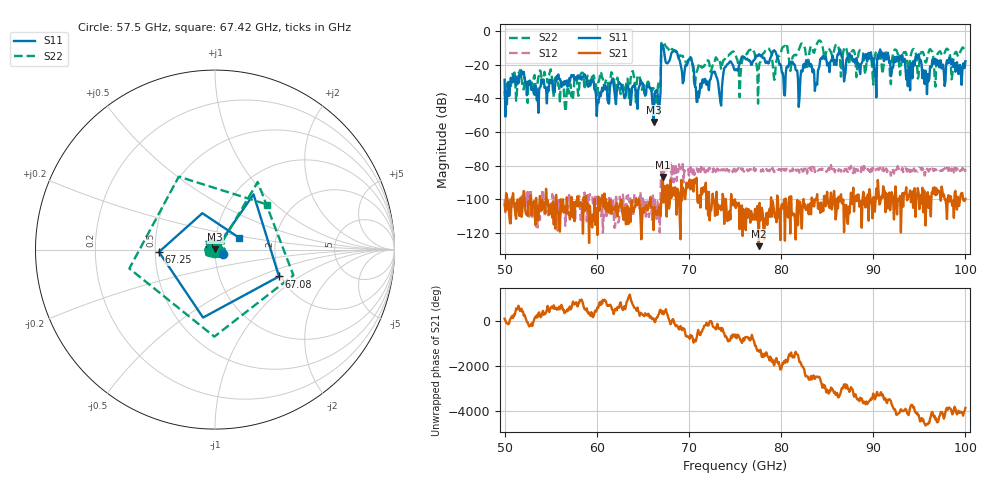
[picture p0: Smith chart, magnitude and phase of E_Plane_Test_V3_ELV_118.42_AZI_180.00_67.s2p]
! 11/26/2026 4:44:27 PM
! C:\ANRITSUVNA\TEMP\TEMP.S2P
! CHANNEL.1
! TR.MEASUREMENT
! RAW.DATA
# HZ S RI R 50.0
! FREQ.HZ  S11RE  S11IM  S21RE  S21IM  S12RE  S12IM  S22RE  S22IM
!; PortSelection: Port_12
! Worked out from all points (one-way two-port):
!   601 points, 50 GHz to 100 GHz, reference 50 ohm
!   highest |S21| = -86.72 dB at 67.17 GHz (marker M1); lowest = -128.0 dB at 77.58 GHz (marker M2)
!   lowest |S11| = -54.0 dB at 66.17 GHz (marker M3), VSWR 1.00, Z = 50.1 + j0.144 ohm
!   |S11| at or under -10 dB: start of sweep to 67 GHz; 67.25 GHz to end of sweep
!   |S22| runs from -47.9 to -5.6 dB; largest |S21 - S12| = 0.00017
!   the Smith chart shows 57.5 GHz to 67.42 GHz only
!   S11 on the Smith chart (normalised r, x): 57.5 GHz: 1.09, -0.05; 67.08 GHz: 1.95, -0.69; 67.25 GHz: 0.52, -0.02; 67.42 GHz: 1.29, +0.18
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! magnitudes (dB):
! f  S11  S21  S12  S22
! 50 GHz  -29.0  -103.1  -100.2  -35.8
! 51.67 GHz  -26.3  -100.4  -105.9  -23.3
! 53.42 GHz  -34.8  -99.3  -117.7  -35.3
! 57.5 GHz  -26.1  -101.8  -106.4  -34.7
! 58.42 GHz  -27.1  -103.2  -103.3  -24.7
! 60.17 GHz  -42.9  -98.5  -104.0  -30.4
! 66.17 GHz  -54.0  -118.4  -101.3  -34.0
! 66.67 GHz  -41.5  -107.2  -106.4  -31.6
! 67.08 GHz  -8.3  -96.1  -85.0  -6.8
! 67.17 GHz  -8.3  -86.7  -79.1  -6.3
! 67.25 GHz  -10.1  -102.0  -82.7  -6.2
! 67.42 GHz  -16.5  -92.2  -84.4  -8.3
! 70.25 GHz  -16.0  -90.3  -85.4  -18.8
! 70.92 GHz  -42.1  -101.3  -83.1  -23.1
! 75 GHz  -23.3  -100.1  -85.0  -13.0
! 77.58 GHz  -13.8  -128.0  -82.8  -22.1
! 83.42 GHz  -24.5  -103.8  -80.8  -10.8
! 91.67 GHz  -16.7  -98.9  -81.9  -15.2
! 93.75 GHz  -32.8  -99.6  -83.3  -21.3
! 94.83 GHz  -15.0  -93.4  -83.6  -28.2
! 95.83 GHz  -37.5  -98.6  -81.9  -16.6
! 100 GHz  -17.9  -99.8  -81.9  -12.6
